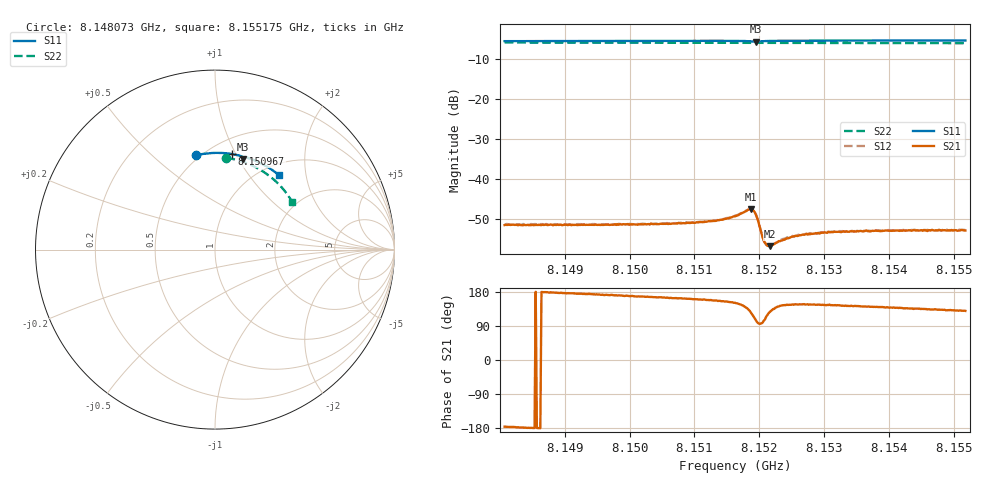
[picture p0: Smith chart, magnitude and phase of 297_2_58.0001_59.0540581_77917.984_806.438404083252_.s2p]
#  HZ  S  RI  R  50.00
! Rohde & Schwarz Vector Network Analyzer
! Rohde-Schwarz,ZNB20-2Port,1311601062101988,3.16
! Created: UTC 3/21/2024, 1:03:38 AM
! freq[Hz]  re:S11  im:S11  re:S21  im:S21  re:S12  im:S12  re:S22  im:S22
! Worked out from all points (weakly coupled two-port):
!   401 points, 8.148073 GHz to 8.155175 GHz, reference 50 ohm
!   highest |S21| = -47.66 dB at 8.151873 GHz (marker M1); lowest = -56.9 dB at 8.152157 GHz (marker M2)
!   lowest |S11| = -5.5 dB at 8.151944 GHz (marker M3), VSWR 3.25, Z = 37.3 + j52.4 ohm
!   |S11| at or under -10 dB: nowhere
!   |S22| runs from -5.9 to -5.8 dB; largest |S21 - S12| = 0.00013
!   S11 on the Smith chart (normalised r, x): 8.148073 GHz: 0.48, +0.70; 8.150967 GHz: 0.64, +0.97; 8.155175 GHz: 1.19, +1.41
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8.1480734e9  -0.1044 0.5258  -0.00261 -0.000182  -0.00267 -0.00015  0.0632 0.511
8.1492629e9  -0.0224 0.5378  -0.00264 0.000238  -0.00263 0.000312  0.139 0.4945
8.1504525e9  0.0605 0.5369  -0.0026 0.000687  -0.00261 0.000728  0.2111 0.4668
8.1509674e9  0.0963 0.5322  -0.00267 0.00092  -0.00266 0.000959  0.2406 0.4517
8.1513402e9  0.1227 0.5272  -0.00275 0.00117  -0.00277 0.00122  0.2613 0.4393
8.1516243e9  0.1433 0.5212  -0.00295 0.00164  -0.00297 0.00174  0.2766 0.4294
8.1518196e9  0.1573 0.5127  -0.00288 0.00286  -0.00287 0.00289  0.2868 0.4221
8.1518728e9  0.1589 0.5085  -0.00234 0.00342  -0.00229 0.00347  0.2895 0.42
8.1519084e9  0.1585 0.5063  -0.0017 0.00361  -0.00167 0.00366  0.2913 0.4187
8.1519439e9  0.1573 0.5056  -0.000937 0.00346  -0.000913 0.0035  0.293 0.4173
8.1519794e9  0.1563 0.507  -0.000388 0.00297  -0.000369 0.00296  0.2947 0.4161
8.1520326e9  0.1584 0.51  -0.00024 0.00204  -0.000234 0.00206  0.2973 0.4142
8.1520681e9  0.1611 0.5114  -0.000399 0.00163  -0.000344 0.00161  0.2995 0.4129
8.1521037e9  0.164 0.5122  -0.000615 0.00138  -0.000567 0.00137  0.3011 0.4117
8.1521569e9  0.1686 0.5125  -0.000841 0.00115  -0.000814 0.0012  0.3039 0.4095
8.1521924e9  0.1716 0.5122  -0.000981 0.0011  -0.000967 0.00112  0.3058 0.4083
8.1524587e9  0.1916 0.5075  -0.00149 0.00102  -0.00153 0.00104  0.3191 0.3976
8.1526895e9  0.2074 0.5021  -0.00167 0.00107  -0.00165 0.00112  0.3303 0.3876
8.1528138e9  0.2156 0.4989  -0.00169 0.00113  -0.00169 0.00117  0.3362 0.3825
8.1531867e9  0.2398 0.4886  -0.00174 0.00126  -0.00175 0.00127  0.3532 0.3661
8.1540034e9  0.29 0.462  -0.00165 0.00149  -0.00167 0.00148  0.3876 0.3274
8.1551752e9  0.3558 0.4154  -0.00143 0.00173  -0.00145 0.00177  0.4297 0.2667
